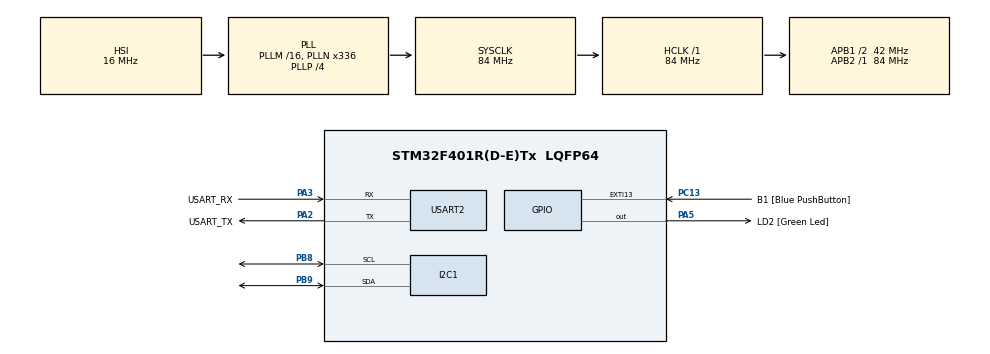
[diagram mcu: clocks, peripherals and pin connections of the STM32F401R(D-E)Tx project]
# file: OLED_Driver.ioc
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FREERTOS.Tasks01=defaultTask,24,128,StartDefaultTask,Default,NULL,Dynamic,NULL,NULL
FREERTOS.configUSE_NEWLIB_REENTRANT=1
Mcu.Family=STM32F4
Mcu.Name=STM32F401R(D-E)Tx
Mcu.Package=LQFP64
NVIC.PriorityGroup=NVIC_PRIORITYGROUP_4
NVIC.TIM1_UP_TIM10_IRQn=true\:15\:0\:false\:false\:true\:false\:false\:true\:true
NVIC.TimeBase=TIM1_UP_TIM10_IRQn
NVIC.TimeBaseIP=TIM1
PA13.GPIO_Label=TMS
PA13.Mode=Trace_Asynchronous_SW
PA13.Signal=SYS_JTMS-SWDIO
PA14.GPIO_Label=TCK
PA14.Mode=Trace_Asynchronous_SW
PA14.Signal=SYS_JTCK-SWCLK
PA2.GPIO_Label=USART_TX
PA2.GPIO_Mode=GPIO_MODE_AF_PP
PA2.GPIO_PuPd=GPIO_NOPULL
PA2.GPIO_Speed=GPIO_SPEED_FREQ_LOW
PA2.Mode=Asynchronous
PA2.Signal=USART2_TX
PA3.GPIO_Label=USART_RX
PA3.GPIO_Mode=GPIO_MODE_AF_PP
PA3.GPIO_PuPd=GPIO_NOPULL
PA3.GPIO_Speed=GPIO_SPEED_FREQ_LOW
PA3.Mode=Asynchronous
PA3.Signal=USART2_RX
PA5.GPIO_Label=LD2 [Green Led]
PA5.GPIO_Mode=GPIO_MODE_OUTPUT_PP
PA5.GPIO_PuPd=GPIO_NOPULL
PA5.GPIO_Speed=GPIO_SPEED_FREQ_LOW
PA5.Signal=GPIO_Output
PB3.GPIO_Label=SWO
PB3.Mode=Trace_Asynchronous_SW
PB3.Signal=SYS_JTDO-SWO
PB8.Mode=I2C
PB8.Signal=I2C1_SCL
PB9.Mode=I2C
PB9.Signal=I2C1_SDA
PC13-ANTI_TAMP.GPIO_Label=B1 [Blue PushButton]
PC13-ANTI_TAMP.GPIO_ModeDefaultEXTI=GPIO_MODE_IT_FALLING
PC13-ANTI_TAMP.GPIO_PuPd=GPIO_NOPULL
PC13-ANTI_TAMP.Signal=GPXTI13
PC14-OSC32_IN.Mode=LSE-External-Oscillator
PC14-OSC32_IN.Signal=RCC_OSC32_IN
PC15-OSC32_OUT.Mode=LSE-External-Oscillator
PC15-OSC32_OUT.Signal=RCC_OSC32_OUT
PH0\ -\ OSC_IN.Mode=HSE-External-Clock-Source
PH0\ -\ OSC_IN.Signal=RCC_OSC_IN
PH1\ -\ OSC_OUT.Mode=HSE-External-Clock-Source
PH1\ -\ OSC_OUT.Signal=RCC_OSC_OUT
ProjectManager.HeapSize=0x200
ProjectManager.StackSize=0x400
ProjectManager.TargetToolchain=STM32CubeIDE
RCC.48MHZClocksFreq_Value=48000000
RCC.AHBFreq_Value=84000000
RCC.APB1CLKDivider=RCC_HCLK_DIV2
RCC.APB1Freq_Value=42000000
RCC.APB1TimFreq_Value=84000000
RCC.APB2Freq_Value=84000000
RCC.APB2TimFreq_Value=84000000
RCC.CortexFreq_Value=84000000
RCC.HCLKFreq_Value=84000000
RCC.HSE_VALUE=8000000
RCC.HSI_VALUE=16000000
RCC.PLLN=336
RCC.PLLP=RCC_PLLP_DIV4
RCC.PLLQ=7
RCC.SYSCLKFreq_VALUE=84000000
RCC.SYSCLKSource=RCC_SYSCLKSOURCE_PLLCLK
RCC.VCOOutputFreq_Value=336000000
USART2.VirtualMode=VM_ASYNC
VP_FREERTOS_VS_CMSIS_V2.Mode=CMSIS_V2
VP_SYS_VS_tim1.Mode=TIM1
board=NUCLEO-F401RE

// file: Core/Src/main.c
/* USER CODE BEGIN Header */
/**
  ******************************************************************************
  * @file           : main.c
  * @brief          : Use an OLED screen as a shared resource for tasks writing
  *                   to it. A MUTEX is used as synchronization technique.
  ******************************************************************************
  */
/* USER CODE END Header */
#include "main.h"
#include "cmsis_os.h"

/* USER CODE BEGIN Includes */
#include "ssd1306.h"
#include "ssd1306_fonts.h"
/* USER CODE END Includes */

I2C_HandleTypeDef hi2c1;

UART_HandleTypeDef huart2;

/* Definitions for defaultTask */
osThreadId_t defaultTaskHandle;
const osThreadAttr_t defaultTask_attributes = {
  .name = "defaultTask",
  .stack_size = 128 * 4,
  .priority = (osPriority_t) osPriorityNormal,
};

void SystemClock_Config(void);
static void MX_GPIO_Init(void);
static void MX_I2C1_Init(void);
static void MX_USART2_UART_Init(void);
void StartDefaultTask(void *argument);

/* USER CODE BEGIN PFP */
void OledWriter1_Task(void *pvParameters);
void OledWriter2_Task(void *pvParameters);
/* USER CODE END PFP */

int main(void)
{

  /* MCU Configuration--------------------------------------------------------*/

  /* Reset of all peripherals, Initializes the Flash interface and the Systick. */
  HAL_Init();

  /* Configure the system clock */
  SystemClock_Config();

  /* Initialize all configured peripherals */
  MX_GPIO_Init();
  MX_I2C1_Init();
  MX_USART2_UART_Init();
  /* USER CODE BEGIN 2 */

  while (HAL_I2C_IsDeviceReady(&hi2c1, (0x3C << 1), 3, 100) != HAL_OK);

  ssd1306_Init();
  ssd1306_Fill(Black); // Reset screen

  ssd1306_SetCursor(0, 0);
  ssd1306_WriteString("HELLO guys!", Font_7x10, White);
  ssd1306_SetCursor(0, 20);
  ssd1306_WriteString("We can do it", Font_7x10, White);

  ssd1306_UpdateScreen(); // Finally print all written text?

  /* Create tasks */
  BaseType_t create_ok;

  create_ok = xTaskCreate(OledWriter1_Task, "Task1", 128, NULL, -1, NULL);
  configASSERT(create_ok == pdPASS);

  create_ok = xTaskCreate(OledWriter2_Task, "Task2", 128, NULL, 1, NULL);
  configASSERT(create_ok == pdPASS);

  /* USER CODE END 2 */

  /* Init scheduler */
  osKernelInitialize();

  /* Create the thread(s) */
  /* creation of defaultTask */
  defaultTaskHandle = osThreadNew(StartDefaultTask, NULL, &defaultTask_attributes);

  /* Start scheduler */
  osKernelStart();

  /* We should never get here as control is now taken by the scheduler */

  /* Infinite loop */
  while (1)
  {

  }
}

void SystemClock_Config(void)
{
  RCC_OscInitTypeDef RCC_OscInitStruct = {0};
  RCC_ClkInitTypeDef RCC_ClkInitStruct = {0};

  /** Configure the main internal regulator output voltage
  */
  __HAL_RCC_PWR_CLK_ENABLE();
  __HAL_PWR_VOLTAGESCALING_CONFIG(PWR_REGULATOR_VOLTAGE_SCALE2);

  /** Initializes the RCC Oscillators according to the specified parameters
  * in the RCC_OscInitTypeDef structure.
  */
  RCC_OscInitStruct.OscillatorType = RCC_OSCILLATORTYPE_HSI;
  RCC_OscInitStruct.HSIState = RCC_HSI_ON;
  RCC_OscInitStruct.HSICalibrationValue = RCC_HSICALIBRATION_DEFAULT;
  RCC_OscInitStruct.PLL.PLLState = RCC_PLL_ON;
  RCC_OscInitStruct.PLL.PLLSource = RCC_PLLSOURCE_HSI;
  RCC_OscInitStruct.PLL.PLLM = 16;
  RCC_OscInitStruct.PLL.PLLN = 336;
  RCC_OscInitStruct.PLL.PLLP = RCC_PLLP_DIV4;
  RCC_OscInitStruct.PLL.PLLQ = 7;
  if (HAL_RCC_OscConfig(&RCC_OscInitStruct) != HAL_OK)
  {
    Error_Handler();
  }

  /** Initializes the CPU, AHB and APB buses clocks
  */
  RCC_ClkInitStruct.ClockType = RCC_CLOCKTYPE_HCLK|RCC_CLOCKTYPE_SYSCLK
                              |RCC_CLOCKTYPE_PCLK1|RCC_CLOCKTYPE_PCLK2;
  RCC_ClkInitStruct.SYSCLKSource = RCC_SYSCLKSOURCE_PLLCLK;
  RCC_ClkInitStruct.AHBCLKDivider = RCC_SYSCLK_DIV1;
  RCC_ClkInitStruct.APB1CLKDivider = RCC_HCLK_DIV2;
  RCC_ClkInitStruct.APB2CLKDivider = RCC_HCLK_DIV1;

  if (HAL_RCC_ClockConfig(&RCC_ClkInitStruct, FLASH_LATENCY_2) != HAL_OK)
  {
    Error_Handler();
  }
}

static void MX_I2C1_Init(void)
{

  hi2c1.Instance = I2C1;
  hi2c1.Init.ClockSpeed = 100000;
  hi2c1.Init.DutyCycle = I2C_DUTYCYCLE_2;
  hi2c1.Init.OwnAddress1 = 0;
  hi2c1.Init.AddressingMode = I2C_ADDRESSINGMODE_7BIT;
  hi2c1.Init.DualAddressMode = I2C_DUALADDRESS_DISABLE;
  hi2c1.Init.OwnAddress2 = 0;
  hi2c1.Init.GeneralCallMode = I2C_GENERALCALL_DISABLE;
  hi2c1.Init.NoStretchMode = I2C_NOSTRETCH_DISABLE;
  if (HAL_I2C_Init(&hi2c1) != HAL_OK)
  {
    Error_Handler();
  }

}

static void MX_USART2_UART_Init(void)
{

  huart2.Instance = USART2;
  huart2.Init.BaudRate = 115200;
  huart2.Init.WordLength = UART_WORDLENGTH_8B;
  huart2.Init.StopBits = UART_STOPBITS_1;
  huart2.Init.Parity = UART_PARITY_NONE;
  huart2.Init.Mode = UART_MODE_TX_RX;
  huart2.Init.HwFlowCtl = UART_HWCONTROL_NONE;
  huart2.Init.OverSampling = UART_OVERSAMPLING_16;
  if (HAL_UART_Init(&huart2) != HAL_OK)
  {
    Error_Handler();
  }

}

static void MX_GPIO_Init(void)
{
  GPIO_InitTypeDef GPIO_InitStruct = {0};

  /* GPIO Ports Clock Enable */
  __HAL_RCC_GPIOC_CLK_ENABLE();
  __HAL_RCC_GPIOH_CLK_ENABLE();
  __HAL_RCC_GPIOA_CLK_ENABLE();
  __HAL_RCC_GPIOB_CLK_ENABLE();

  /*Configure GPIO pin Output Level */
  HAL_GPIO_WritePin(LD2_GPIO_Port, LD2_Pin, GPIO_PIN_RESET);

  /*Configure GPIO pin : B1_Pin */
  GPIO_InitStruct.Pin = B1_Pin;
  GPIO_InitStruct.Mode = GPIO_MODE_IT_FALLING;
  GPIO_InitStruct.Pull = GPIO_NOPULL;
  HAL_GPIO_Init(B1_GPIO_Port, &GPIO_InitStruct);

  /*Configure GPIO pin : LD2_Pin */
  GPIO_InitStruct.Pin = LD2_Pin;
  GPIO_InitStruct.Mode = GPIO_MODE_OUTPUT_PP;
  GPIO_InitStruct.Pull = GPIO_NOPULL;
  GPIO_InitStruct.Speed = GPIO_SPEED_FREQ_LOW;
  HAL_GPIO_Init(LD2_GPIO_Port, &GPIO_InitStruct);

}

/* USER CODE BEGIN 4 */
void OledWriter1_Task(void *pvParameters)
{
    while (1)
    {
      ssd1306_Fill(Black); // Reset screen

      ssd1306_SetCursor(0, 0);
      ssd1306_WriteString("(Task 1) Hi!", Font_7x10, White);

      ssd1306_UpdateScreen(); // Finally print all written text?

      vTaskDelay(pdMS_TO_TICKS(20));
    }
}

void OledWriter2_Task(void *pvParameters)
{
    while (1)
    {
      ssd1306_Fill(Black); // Reset screen

      ssd1306_SetCursor(0, 0);
      ssd1306_WriteString("(Task 2) Hello!", Font_7x10, White);

      ssd1306_UpdateScreen(); // Finally print all written text?

      for (volatile uint32_t i = 0; i < 1000000; i++)
      {
          /* simulate long processing */
      }

      vTaskDelay(pdMS_TO_TICKS(100));
    }
}
/* USER CODE END 4 */

void StartDefaultTask(void *argument)
{
  for(;;)
  {
    osDelay(1);
  }
}

void HAL_TIM_PeriodElapsedCallback(TIM_HandleTypeDef *htim)
{
  if (htim->Instance == TIM1)
  {
    HAL_IncTick();
  }
}

void Error_Handler(void)
{
  __disable_irq();
  while (1)
  {
  }
}
